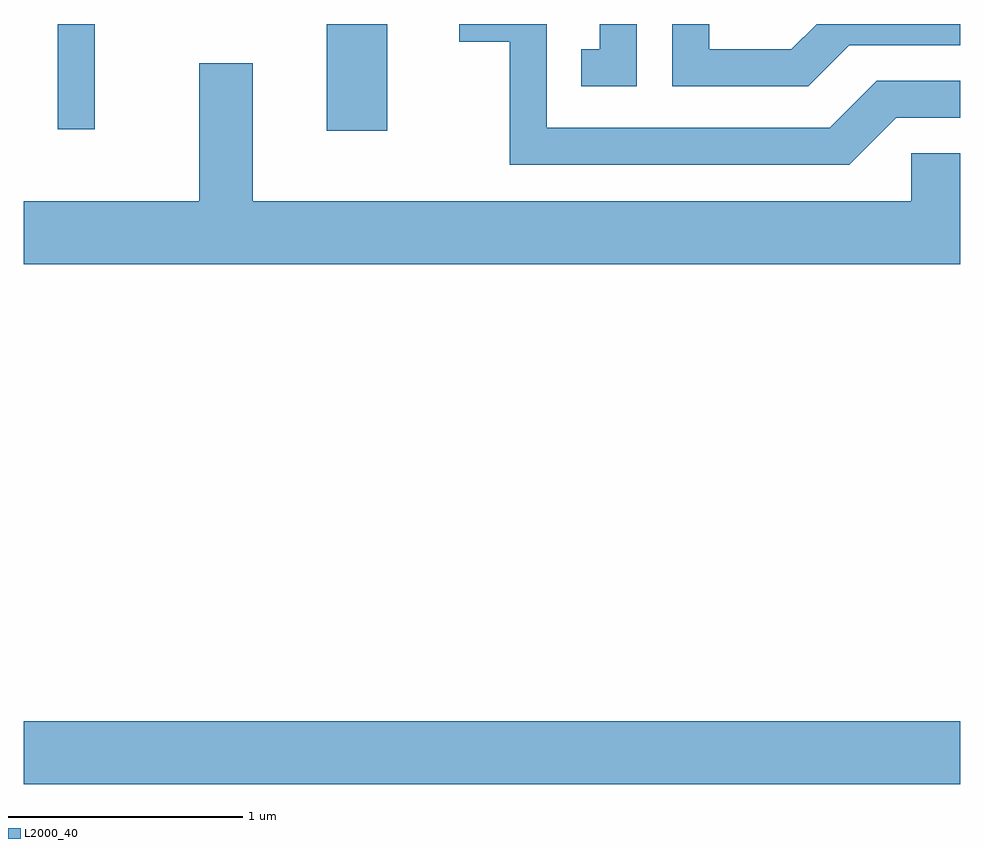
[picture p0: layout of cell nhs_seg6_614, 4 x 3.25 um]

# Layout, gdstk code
import gdstk
lib = gdstk.Library(unit=1e-6, precision=1e-09)
def R(c, l, rs):  # rectangles x0, y0, x1, y1
    for r in rs: c.add(gdstk.rectangle(r[:2], r[2:], *l))
def P(c, l, *ps):  # polygons
    for p in ps: c.add(gdstk.Polygon(p, *l))
L2000_40 = (2000, 40)

nhs_seg6_614 = lib.new_cell('nhs_seg6_614')
R(nhs_seg6_614, L2000_40, [(203.611,1558.916,207.611,1559.184), (204.906,1561.706,205.164,1562.162), (203.756,1561.713,203.914,1562.162)])
P(nhs_seg6_614, L2000_40, [(207.337,1561.761),(207.611,1561.761),(207.611,1561.919),(207.254,1561.919),(207.054,1561.719),(205.844,1561.719),(205.844,1562.162),(205.471,1562.162),(205.471,1562.086),(205.686,1562.086),(205.686,1561.561),(207.137,1561.561)],
  [(206.229,1562.162),(206.071,1562.162),(206.071,1562.054),(205.993,1562.054),(205.993,1561.896),(206.229,1561.896)],
  [(207.137,1562.071),(207.611,1562.071),(207.611,1562.162),(206.997,1562.162),(206.889,1562.054),(206.539,1562.054),(206.539,1562.162),(206.381,1562.162),(206.381,1561.896),(206.962,1561.896)],
  [(207.611,1561.609),(207.401,1561.609),(207.401,1561.404),(204.589,1561.404),(204.589,1561.994),(204.361,1561.994),(204.361,1561.404),(203.611,1561.404),(203.611,1561.136),(207.611,1561.136)])

lib.write_gds('nhs_seg6_614.gds')
